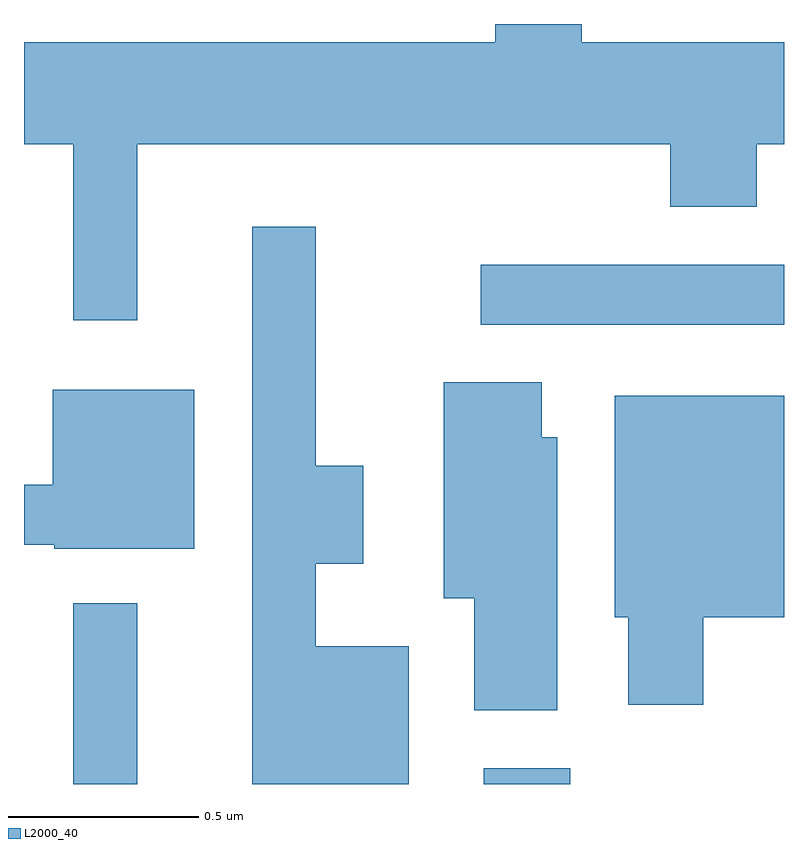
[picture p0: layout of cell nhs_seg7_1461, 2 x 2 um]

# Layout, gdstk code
import gdstk
lib = gdstk.Library(unit=1e-6, precision=1e-09)
def R(c, l, rs):  # rectangles x0, y0, x1, y1
    for r in rs: c.add(gdstk.rectangle(r[:2], r[2:], *l))
def P(c, l, *ps):  # polygons
    for p in ps: c.add(gdstk.Polygon(p, *l))
L2000_40 = (2000, 40)

nhs_seg7_1461 = lib.new_cell('nhs_seg7_1461')
R(nhs_seg7_1461, L2000_40, [(195.741,1759.252,195.909,1759.728), (196.821,1759.252,197.049,1759.294), (196.813,1760.461,197.611,1760.619)])
P(nhs_seg7_1461, L2000_40, [(195.909,1760.936),(197.311,1760.936),(197.311,1760.771),(197.539,1760.771),(197.539,1760.936),(197.611,1760.936),(197.611,1761.204),(197.079,1761.204),(197.079,1761.252),(196.851,1761.252),(196.851,1761.204),(195.611,1761.204),(195.611,1760.936),(195.741,1760.936),(195.741,1760.473),(195.909,1760.473)],
  [(196.624,1759.614),(196.379,1759.614),(196.379,1759.831),(196.504,1759.831),(196.504,1760.089),(196.379,1760.089),(196.379,1760.718),(196.211,1760.718),(196.211,1759.252),(196.624,1759.252)],
  [(197.014,1760.164),(196.974,1760.164),(196.974,1760.309),(196.716,1760.309),(196.716,1759.741),(196.796,1759.741),(196.796,1759.446),(197.014,1759.446)],
  [(196.059,1760.289),(195.686,1760.289),(195.686,1760.039),(195.611,1760.039),(195.611,1759.881),(195.69,1759.881),(195.69,1759.871),(196.059,1759.871)],
  [(197.399,1759.691),(197.611,1759.691),(197.611,1760.274),(197.166,1760.274),(197.166,1759.691),(197.201,1759.691),(197.201,1759.461),(197.399,1759.461)])

lib.write_gds('nhs_seg7_1461.gds')
